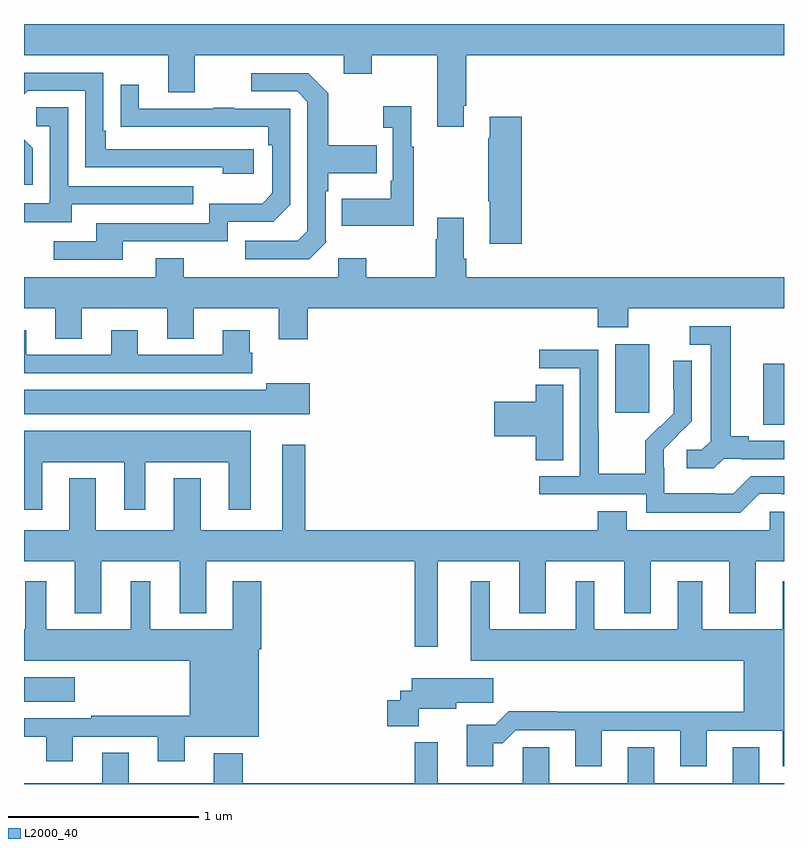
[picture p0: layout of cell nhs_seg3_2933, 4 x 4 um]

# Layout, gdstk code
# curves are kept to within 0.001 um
import gdstk
lib = gdstk.Library(unit=1e-6, precision=1e-09)
def R(c, l, rs):  # rectangles x0, y0, x1, y1
    for r in rs: c.add(gdstk.rectangle(r[:2], r[2:], *l))
def P(c, l, *ps):  # polygons
    for p in ps: c.add(gdstk.Polygon(p, *l))
L2000_40 = (2000, 40)

nhs_seg3_2933 = lib.new_cell('nhs_seg3_2933')
R(nhs_seg3_2933, L2000_40, [(263,710.834,263.266,710.962), (266.891,712.291,267,712.611), (266.111,712.353,266.29,712.714)])
P(nhs_seg3_2933, L2000_40, [(265.315,713.971),(265.328,713.971),(265.328,714.236),(267,714.236),(267,714.4),(263,714.4),(263,714.236),(263.759,714.236),(263.759,714.042),(263.899,714.042),(263.899,714.236),(264.683,714.236),(264.683,714.137),(264.831,714.137),(264.831,714.236),(265.175,714.236),(265.175,713.859),(265.315,713.859)],
  [(264.208,713.742),(263.431,713.742),(263.431,713.839),(263.418,713.839),(263.418,714.144),(263,714.144),(263,714.029),(263.019,714.048),(263.322,714.048),(263.322,713.646),(264.047,713.646),(264.047,713.612),(264.208,713.612)],
  [(264.588,713.25),(264.588,713.519),(264.601,713.519),(264.601,713.615),(264.857,713.615),(264.857,713.763),(264.601,713.763),(264.601,714.035),(264.495,714.141),(264.195,714.141),(264.195,714.045),(264.438,714.045),(264.492,713.991),(264.492,713.31),(264.441,713.259),(264.165,713.259),(264.165,713.163),(264.501,713.163)],
  [(263.521,713.256),(264.072,713.256),(264.072,713.358),(264.312,713.358),(264.402,713.448),(264.402,713.955),(264.107,713.955),(264.107,713.96),(263.995,713.96),(263.995,713.955),(263.605,713.955),(263.605,714.079),(263.509,714.079),(263.509,713.86),(264.286,713.859),(264.286,713.762),(264.306,713.762),(264.306,713.508),(264.253,713.455),(263.976,713.455),(263.976,713.352),(263.381,713.352),(263.381,713.256),(263.157,713.256),(263.157,713.16),(263.521,713.16)],
  [(265.051,713.755),(265.039,713.755),(265.039,713.968),(264.891,713.968),(264.891,713.855),(264.942,713.855),(264.942,713.575),(264.93,713.575),(264.93,713.479),(264.673,713.479),(264.673,713.339),(265.051,713.339)],
  [(263.251,713.451),(263.891,713.451),(263.891,713.547),(263.232,713.547),(263.232,713.963),(263.064,713.963),(263.064,713.862),(263.136,713.862),(263.136,713.457),(263,713.457),(263,713.357),(263.251,713.357)],
  [(265.619,713.911),(265.451,713.911),(265.451,713.798),(265.444,713.798),(265.444,713.467),(265.451,713.467),(265.451,713.244),(265.619,713.244)],
  [(263.046,713.746),(263,713.792),(263,713.553),(263.046,713.553)],
  [(264.494,712.904),(266.021,712.904),(266.021,712.805),(266.181,712.805),(266.181,712.904),(267,712.904),(267,713.068),(265.328,713.068),(265.328,713.164),(265.315,713.164),(265.315,713.38),(265.175,713.38),(265.175,713.267),(265.168,713.267),(265.168,713.068),(264.801,713.068),(264.801,713.167),(264.654,713.167),(264.654,713.068),(263.841,713.068),(263.841,713.167),(263.693,713.167),(263.693,713.068),(263,713.068),(263,712.904),(263.165,712.904),(263.165,712.744),(263.305,712.744),(263.305,712.904),(263.753,712.904),(263.753,712.744),(263.893,712.744),(263.893,712.904),(264.341,712.904),(264.341,712.74),(264.494,712.74)],
  [(266.682,712.113),(266.776,712.113),(266.776,712.11),(267,712.11),(267,712.206),(266.815,712.206),(266.815,712.229),(266.719,712.229),(266.719,712.809),(266.505,712.809),(266.505,712.713),(266.615,712.713),(266.615,712.205),(266.568,712.158),(266.487,712.158),(266.487,712.061),(266.63,712.061)],
  [(264.2,712.671),(264.187,712.671),(264.187,712.789),(264.047,712.789),(264.047,712.659),(263.599,712.659),(263.599,712.789),(263.459,712.789),(263.459,712.659),(263.011,712.659),(263.011,712.789),(263,712.789),(263,712.563),(264.2,712.563)],
  [(266.871,711.927),(266.987,711.927),(266.987,711.924),(267,711.924),(267,712.02),(266.826,712.02),(266.733,711.927),(266.633,711.927),(266.633,711.931),(266.37,711.931),(266.37,712.065),(266.368,712.065),(266.368,712.162),(266.514,712.31),(266.514,712.628),(266.418,712.628),(266.418,712.474),(266.42,712.474),(266.42,712.352),(266.349,712.281),(266.346,712.284),(266.269,712.207),(266.269,712.033),(266.025,712.033),(266.025,712.256),(266.022,712.256),(266.022,712.686),(265.713,712.686),(265.713,712.587),(265.926,712.587),(265.926,712.02),(265.713,712.02),(265.713,711.924),(266.274,711.924),(266.274,711.827),(266.771,711.827)],
  [(264.505,712.51),(264.275,712.51),(264.275,712.474),(263,712.474),(263,712.346),(264.505,712.346)],
  [(265.837,712.502),(265.694,712.502),(265.694,712.412),(265.476,712.412),(265.476,712.229),(265.694,712.229),(265.694,712.105),(265.837,712.105)],
  [(263.095,712.094),(263.528,712.094),(263.528,711.843),(263.638,711.843),(263.638,712.094),(264.077,712.094),(264.077,711.843),(264.193,711.843),(264.193,712.258),(263,712.258),(263,711.843),(263.095,711.843)],
  [(265.177,711.572),(265.607,711.572),(265.607,711.299),(265.747,711.299),(265.747,711.572),(266.159,711.572),(266.159,711.299),(266.299,711.299),(266.299,711.572),(266.711,711.572),(266.711,711.299),(266.851,711.299),(266.851,711.572),(267,711.572),(267,711.834),(266.925,711.834),(266.925,711.736),(266.173,711.736),(266.173,711.835),(266.021,711.835),(266.021,711.736),(264.481,711.736),(264.481,712.186),(264.359,712.186),(264.359,711.736),(263.929,711.736),(263.929,712.009),(263.789,712.009),(263.789,711.736),(263.377,711.736),(263.377,712.009),(263.237,712.009),(263.237,711.736),(263,711.736),(263,711.572),(263.267,711.572),(263.267,711.299),(263.407,711.299),(263.407,711.572),(263.819,711.572),(263.819,711.299),(263.959,711.299),(263.959,711.572),(265.056,711.572),(265.056,711.123),(265.177,711.123)],
  [(265.471,710.615),(265.52,710.615),(265.587,710.682),(265.901,710.682),(265.901,710.493),(266.041,710.493),(266.041,710.679),(266.453,710.679),(266.453,710.493),(266.593,710.493),(266.593,710.679),(266.993,710.679),(266.993,710.493),(267,710.493),(267,711.466),(266.993,711.466),(266.993,711.214),(266.569,711.214),(266.569,711.466),(266.441,711.466),(266.441,711.214),(266.002,711.214),(266.002,711.466),(265.904,711.466),(265.904,711.214),(265.45,711.214),(265.45,711.466),(265.352,711.466),(265.352,711.05),(266.789,711.05),(266.789,710.78),(265.805,710.78),(265.805,710.783),(265.55,710.783),(265.48,710.713),(265.331,710.713),(265.331,710.493),(265.471,710.493)],
  [(263.257,710.649),(263.705,710.649),(263.705,710.52),(263.845,710.52),(263.845,710.648),(264.235,710.648),(264.235,711.11),(264.248,711.11),(264.248,711.466),(264.098,711.466),(264.098,711.214),(263.665,711.214),(263.665,711.466),(263.561,711.466),(263.561,711.214),(263.116,711.214),(263.116,711.466),(263.006,711.466),(263.006,711.214),(263,711.214),(263,711.05),(263.873,711.05),(263.873,710.758),(263.353,710.758),(263.353,710.745),(263,710.745),(263,710.649),(263.117,710.649),(263.117,710.52),(263.257,710.52)],
  [(265.077,710.796),(265.276,710.796),(265.276,710.827),(265.471,710.827),(265.471,710.956),(265.04,710.956),(265.04,710.892),(264.981,710.892),(264.981,710.84),(264.912,710.84),(264.912,710.705),(265.077,710.705)],
  [(267,710.404),(266.869,710.404),(266.869,710.594),(266.729,710.594),(266.729,710.404),(266.317,710.404),(266.317,710.594),(266.177,710.594),(266.177,710.404),(265.765,710.404),(265.765,710.594),(265.626,710.594),(265.626,710.404),(265.177,710.404),(265.177,710.62),(265.056,710.62),(265.056,710.404),(264.152,710.404),(264.152,710.563),(263.999,710.563),(263.999,710.404),(263.551,710.404),(263.551,710.564),(263.411,710.564),(263.411,710.404),(263,710.404),(263,710.4),(267,710.4)])

lib.write_gds('nhs_seg3_2933.gds')
